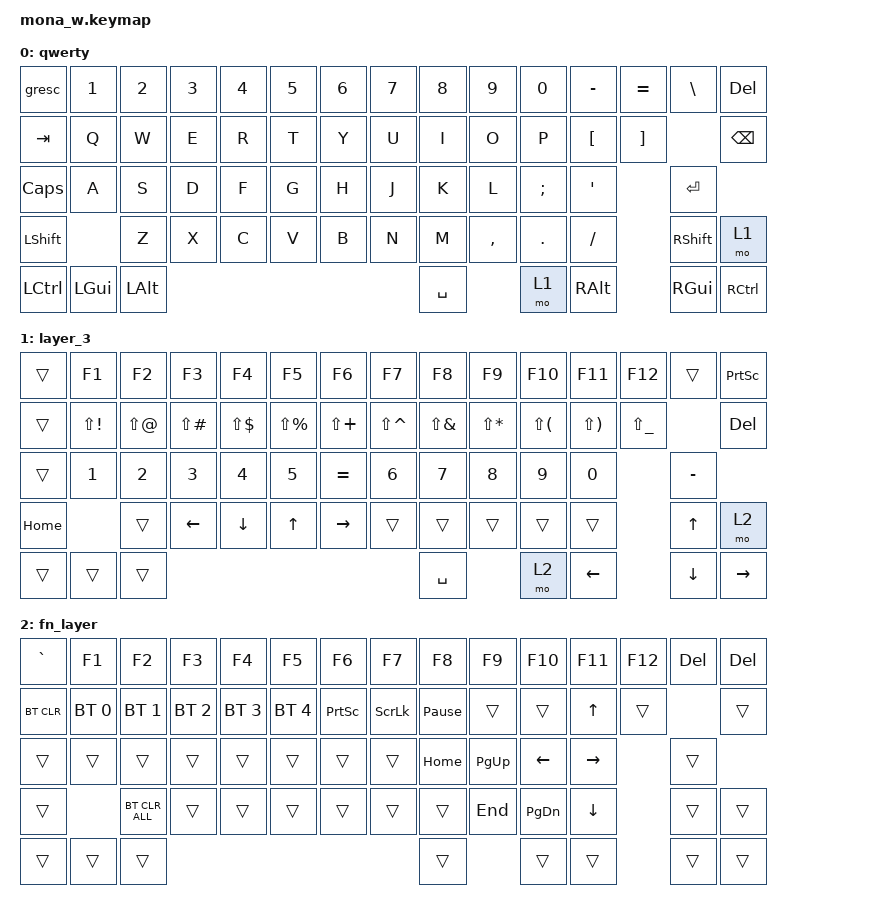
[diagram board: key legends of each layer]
/*
 * Copyright (c) 2023 Ramon Imbao
 *
 * SPDX-License-Identifier: MIT
 */

#include <behaviors.dtsi>
#include <dt-bindings/zmk/bt.h>
#include <dt-bindings/zmk/keys.h>

/ {
    keymap {
        compatible = "zmk,keymap";

        qwerty {
            bindings = <
&gresc     &kp N1    &kp N2    &kp N3  &kp N4  &kp N5  &kp NUMBER_6  &kp N7  &kp N8     &kp N9     &kp N0    &kp MINUS  &kp EQUAL  &kp BSLH   &kp DEL
&kp TAB    &kp Q     &kp W     &kp E   &kp R   &kp T   &kp Y         &kp U   &kp I      &kp O      &kp P     &kp LBKT   &kp RBKT              &kp BSPC
&kp CAPS   &kp A     &kp S     &kp D   &kp F   &kp G   &kp H         &kp J   &kp K      &kp L      &kp SEMI  &kp SQT               &kp RET
&kp LSHFT            &kp Z     &kp X   &kp C   &kp V   &kp B         &kp N   &kp M      &kp COMMA  &kp DOT   &kp FSLH              &kp RSHFT  &mo 1
&kp LCTRL  &kp LGUI  &kp LALT                                                &kp SPACE             &mo 1     &kp RALT              &kp RGUI   &kp RCTRL
            >;
        };

        layer_3 {
            bindings = <
&trans    &kp F1        &kp F2      &kp F3         &kp F4        &kp F5         &kp F6        &kp F7         &kp F8        &kp F9        &kp F10       &kp F11       &kp F12        &trans     &kp PRINTSCREEN
&trans    &kp LS(EXCL)  &kp LS(AT)  &kp LS(POUND)  &kp LS(DLLR)  &kp LS(PRCNT)  &kp LS(PLUS)  &kp LS(CARET)  &kp LS(AMPS)  &kp LS(STAR)  &kp LS(LPAR)  &kp LS(RPAR)  &kp LS(UNDER)             &kp DEL
&trans    &kp N1        &kp N2      &kp N3         &kp N4        &kp N5         &kp EQUAL     &kp N6         &kp N7        &kp N8        &kp N9        &kp N0                       &kp MINUS
&kp HOME                &trans      &kp LEFT       &kp DOWN      &kp UP         &kp RIGHT     &trans         &trans        &trans        &trans        &trans                       &kp UP     &mo 2
&trans    &trans        &trans                                                                               &kp SPACE                   &mo 2         &kp LEFT                     &kp DOWN   &kp RIGHT
            >;
        };

        fn_layer {
            bindings = <
&kp GRAVE   &kp F1        &kp F2          &kp F3        &kp F4        &kp F5        &kp F6     &kp F7    &kp F8           &kp F9     &kp F10    &kp F11    &kp F12  &kp DELETE  &kp DELETE
&bt BT_CLR  &bt BT_SEL 0  &bt BT_SEL 1    &bt BT_SEL 2  &bt BT_SEL 3  &bt BT_SEL 4  &kp PSCRN  &kp SLCK  &kp PAUSE_BREAK  &trans     &trans     &kp UP     &trans               &trans
&trans      &trans        &trans          &trans        &trans        &trans        &trans     &trans    &kp HOME         &kp PG_UP  &kp LEFT   &kp RIGHT           &trans
&trans                    &bt BT_CLR_ALL  &trans        &trans        &trans        &trans     &trans    &trans           &kp END    &kp PG_DN  &kp DOWN            &trans      &trans
&trans      &trans        &trans                                                                         &trans                      &trans     &trans              &trans      &trans
            >;
        };
    };
};
